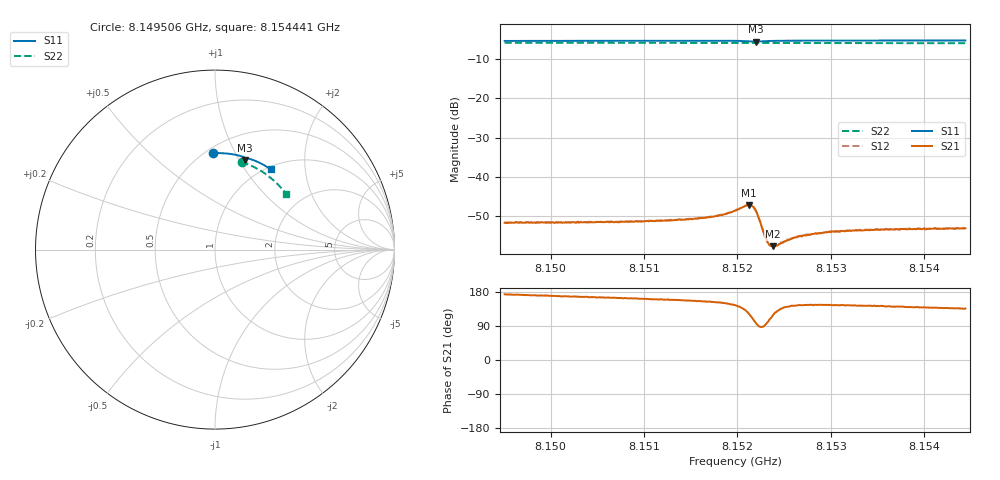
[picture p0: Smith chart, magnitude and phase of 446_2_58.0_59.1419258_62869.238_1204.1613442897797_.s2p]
#  HZ  S  RI  R  50.00
! Rohde & Schwarz Vector Network Analyzer
! Rohde-Schwarz,ZNB20-2Port,1311601062101988,3.16
! Created: UTC 3/21/2024, 1:10:15 AM
! freq[Hz]  re:S11  im:S11  re:S21  im:S21  re:S12  im:S12  re:S22  im:S22
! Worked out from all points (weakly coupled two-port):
!   401 points, 8.149506 GHz to 8.154441 GHz, reference 50 ohm
!   highest |S21| = -47.10 dB at 8.152121 GHz (marker M1); lowest = -57.6 dB at 8.15238 GHz (marker M2)
!   lowest |S11| = -5.6 dB at 8.152195 GHz (marker M3), VSWR 3.23, Z = 38.4 + j53 ohm
!   |S11| at or under -10 dB: nowhere
!   |S22| runs from -6.0 to -5.8 dB; largest |S21 - S12| = 0.00011
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8.149506e9  -0.00986 0.5375  -0.00261 0.000302  -0.00265 0.000355  0.1477 0.4883
8.1503326e9  0.0479 0.5368  -0.00259 0.000631  -0.00264 0.000666  0.1974 0.4693
8.1511591e9  0.1051 0.5299  -0.0026 0.000963  -0.00262 0.000989  0.2445 0.4452
8.1515292e9  0.1311 0.5245  -0.00269 0.0012  -0.0027 0.00122  0.2646 0.4329
8.1516772e9  0.1416 0.5218  -0.00277 0.00134  -0.00277 0.0014  0.2724 0.4277
8.15185e9  0.1542 0.5178  -0.00291 0.00165  -0.0029 0.00171  0.2817 0.4214
8.1519733e9  0.1635 0.5135  -0.00304 0.00215  -0.00307 0.00221  0.288 0.4167
8.1521214e9  0.1718 0.5027  -0.00236 0.00373  -0.00232 0.00378  0.2954 0.4108
8.1521584e9  0.1705 0.4999  -0.00151 0.00401  -0.00151 0.00408  0.2972 0.4094
8.1521954e9  0.1681 0.4995  -0.000517 0.0037  -0.000486 0.00376  0.2988 0.4081
8.1522201e9  0.167 0.501  -6.02e-05 0.00319  -6.58e-05 0.00325  0.2999 0.4072
8.1522817e9  0.1694 0.5057  3.2e-05 0.00194  5.71e-05 0.00199  0.303 0.4051
8.1523187e9  0.1725 0.5074  -0.000219 0.00149  -0.000167 0.00154  0.305 0.4037
8.1523434e9  0.1748 0.5079  -0.000409 0.0013  -0.000381 0.00134  0.3062 0.4027
8.1523804e9  0.1782 0.508  -0.00063 0.00116  -0.00062 0.00117  0.3081 0.4012
8.1524174e9  0.1814 0.508  -0.000799 0.00107  -0.000823 0.00107  0.3099 0.3998
8.1525285e9  0.1904 0.5062  -0.00121 0.000996  -0.00125 0.00102  0.3154 0.3953
8.1526395e9  0.1986 0.5039  -0.0014 0.00101  -0.00141 0.00106  0.3208 0.3908
8.1527999e9  0.21 0.4999  -0.00156 0.00107  -0.00154 0.00109  0.3284 0.3841
8.1529973e9  0.2231 0.4948  -0.00165 0.00113  -0.00167 0.00118  0.3375 0.3755
8.1536264e9  0.2629 0.476  -0.00168 0.00131  -0.00172 0.00134  0.3654 0.3471
8.1544406e9  0.3113 0.4473  -0.00161 0.00155  -0.0016 0.00161  0.3976 0.3074
